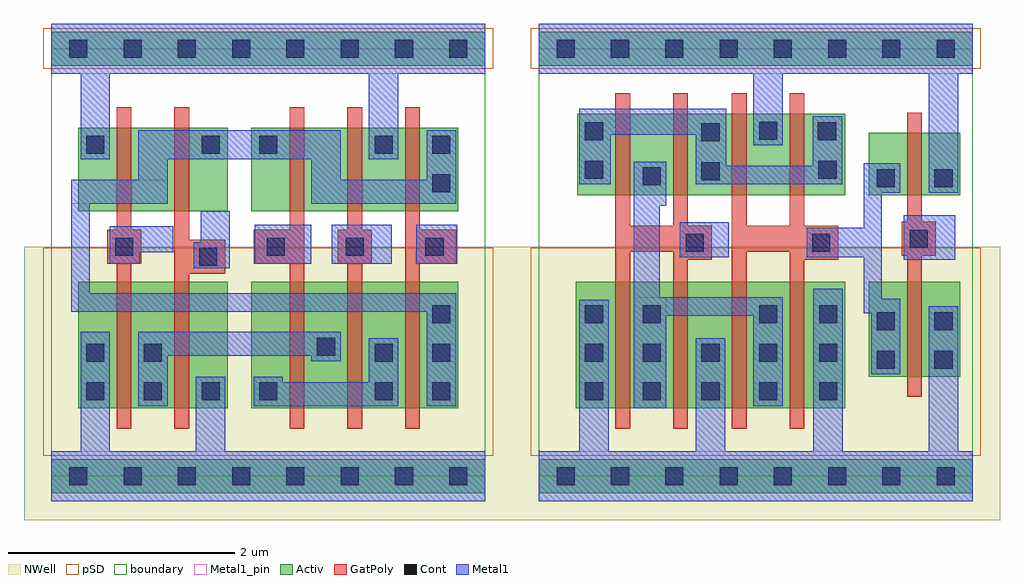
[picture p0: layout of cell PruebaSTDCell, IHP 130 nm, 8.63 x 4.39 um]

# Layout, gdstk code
from math import pi, radians
import gdstk
lib = gdstk.Library(unit=1e-6, precision=1e-09)
def R(c, l, rs):  # rectangles x0, y0, x1, y1
    for r in rs: c.add(gdstk.rectangle(r[:2], r[2:], *l))
def A(c, l, x, y, w, h, nx, ny, dx, dy):  # array of equal rectangles
    R(c, l, [(x+i*dx, y+j*dy, x+i*dx+w, y+j*dy+h) for i in range(nx) for j in range(ny)])
def P(c, l, *ps):  # polygons
    for p in ps: c.add(gdstk.Polygon(p, *l))
Activ = (1, 0)
GatPoly = (5, 0)
Cont = (6, 0)
Metal1 = (8, 0)
Metal1_pin = (8, 2)
pSD = (14, 0)
NWell = (31, 0)
boundary = (189, 4)

sg13g2_a221oi_1 = lib.new_cell('sg13g2_a221oi_1')
R(sg13g2_a221oi_1, Activ, [(0,-0.15,3.84,0.15), (0.24,0.7,2.07,1.44), (2.28,0.7,3.6,1.44), (0.24,2.06,2.07,3.18), (2.28,2.06,3.6,3.18), (0,3.63,3.84,3.93)])
P(sg13g2_a221oi_1, GatPoly, [(1.6,0.52),(1.6,3.36),(1.73,3.36),(1.73,1.9),(2.05,1.9),(2.05,1.6),(1.73,1.6),(1.73,0.52)],
  [(0.58,0.52),(0.58,1.6),(0.26,1.6),(0.26,1.9),(0.58,1.9),(0.58,3.36),(0.71,3.36),(0.71,0.52)],
  [(3.13,0.52),(3.13,1.6),(3.045,1.6),(3.045,1.9),(3.13,1.9),(3.13,3.36),(3.26,3.36),(3.26,1.9),(3.345,1.9),(3.345,1.6),(3.26,1.6),(3.26,0.52)],
  [(1.09,0.52),(1.09,1.6),(1.005,1.6),(1.005,1.9),(1.09,1.9),(1.09,3.36),(1.22,3.36),(1.22,1.9),(1.305,1.9),(1.305,1.6),(1.22,1.6),(1.22,0.52)],
  [(2.62,0.52),(2.62,1.69),(2.3,1.69),(2.3,1.99),(2.62,1.99),(2.62,3.36),(2.75,3.36),(2.75,0.52)])
A(sg13g2_a221oi_1, Cont, 0.16, -0.08, 0.16, 0.16, 8, 2, 0.48, 3.78)
A(sg13g2_a221oi_1, Cont, 0.31, 2.27, 0.16, 0.16, 1, 3, 0, 0.34)
A(sg13g2_a221oi_1, Cont, 1.84, 2.95, 0.16, 0.16, 4, 1, 0.51, 0)
R(sg13g2_a221oi_1, Cont, [(0.31,0.77,0.47,0.93), (0.82,0.77,0.98,0.93), (1.84,0.77,2,0.93), (2.35,0.77,2.51,0.93), (3.37,0.77,3.53,0.93), (0.31,1.11,0.47,1.27), (0.37,1.67,0.53,1.83), (1.075,1.67,1.235,1.83), (1.775,1.67,1.935,1.83), (3.115,1.67,3.275,1.83), (2.37,1.76,2.53,1.92), (1.33,2.555,1.49,2.715), (0.82,2.61,0.98,2.77), (2.86,2.61,3.02,2.77), (3.37,2.61,3.53,2.77), (0.82,2.95,0.98,3.11)])
R(sg13g2_a221oi_1, Metal1, [(0.25,1.555,0.61,1.9), (0.83,1.555,1.36,1.9), (1.54,1.555,2.04,1.9)])
P(sg13g2_a221oi_1, Metal1, [(3.32,2.505),(3.32,3.56),(2.56,3.56),(2.56,2.9),(2.3,2.9),(2.3,3.56),(0,3.56),(0,4),(3.84,4),(3.84,3.56),(3.58,3.56),(3.58,2.505)],
  [(0.77,2.56),(0.77,3.16),(2.05,3.16),(2.05,2.9),(1.79,2.9),(1.79,2.95),(1.03,2.95),(1.03,2.56)],
  [(0.26,0.72),(0.26,1.37),(1.54,1.37),(1.54,0.98),(2.81,0.98),(2.81,1.37),(3.5,1.37),(3.5,2.165),(0.26,2.165),(0.26,3.16),(0.52,3.16),(0.52,2.325),(3.66,2.325),(3.66,1.16),(3.07,1.16),(3.07,0.72),(1.28,0.72),(1.28,1.16),(0.52,1.16),(0.52,0.72)],
  [(2.76,1.57),(2.76,1.8),(3.055,1.8),(3.055,1.9),(3.32,1.9),(3.32,1.57)],
  [(1.28,2.505),(1.28,2.765),(1.54,2.765),(1.54,2.715),(2.81,2.715),(2.81,3.16),(3.07,3.16),(3.07,2.505)],
  [(2.26,1.44),(2.26,1.94),(2.58,1.94),(2.58,1.71),(2.515,1.71),(2.515,1.44)],
  [(0,-0.22),(0,0.22),(0.77,0.22),(0.77,0.98),(1.03,0.98),(1.03,0.22),(3.32,0.22),(3.32,0.98),(3.58,0.98),(3.58,0.22),(3.84,0.22),(3.84,-0.22)])
R(sg13g2_a221oi_1, Metal1_pin, [(0,-0.22,3.84,0.22), (2.81,1.16,3.66,1.37), (2.26,1.44,2.515,1.94), (0.25,1.555,0.61,1.9), (0.83,1.555,1.36,1.9), (1.54,1.555,2.04,1.9), (2.76,1.57,3.32,1.8), (0,3.56,3.84,4)])
R(sg13g2_a221oi_1, pSD, [(-0.07,-0.18,3.91,0.18), (-0.07,1.76,3.91,3.6)])
R(sg13g2_a221oi_1, NWell, [(-0.24,1.75,4.08,4.17)])
R(sg13g2_a221oi_1, boundary, [(0,0,3.84,3.78)])
sg13g2_a221oi_1.add(gdstk.Label('C1', (0.445,1.735), layer=8, texttype=25))
sg13g2_a221oi_1.add(gdstk.Label('Y', (3.36,1.26), layer=8, texttype=25))
sg13g2_a221oi_1.add(gdstk.Label('B2', (1.12,1.735), layer=8, texttype=25))
sg13g2_a221oi_1.add(gdstk.Label('B1', (1.865,1.68), layer=8, texttype=25))
sg13g2_a221oi_1.add(gdstk.Label('A2', (3.155,1.74), layer=8, texttype=25))
sg13g2_a221oi_1.add(gdstk.Label('VDD', (1.93,3.78), layer=8, texttype=25))
sg13g2_a221oi_1.add(gdstk.Label('A1', (2.35,1.54), layer=8, texttype=25))
sg13g2_a221oi_1.add(gdstk.Label('VSS', (1.84,-0.02), layer=8, texttype=25))

sg13g2_nand2b_2 = lib.new_cell('sg13g2_nand2b_2')
R(sg13g2_nand2b_2, Activ, [(0,-0.15,3.84,0.15), (1.13,0.575,3.5,1.295), (0.11,0.745,0.92,1.295), (0.11,2.06,0.92,2.9), (1.13,2.06,3.51,3.18), (0,3.63,3.84,3.93)])
P(sg13g2_nand2b_2, GatPoly, [(1.49,0.395),(1.49,1.565),(1.19,1.565),(1.19,1.865),(1.49,1.865),(1.49,3.36),(1.62,3.36),(1.62,1.795),(2,1.795),(2,3.36),(2.13,3.36),(2.13,0.395),(2,0.395),(2,1.565),(1.62,1.565),(1.62,0.395)],
  [(0.45,0.565),(0.45,1.53),(0.33,1.53),(0.33,1.83),(0.45,1.83),(0.45,3.08),(0.58,3.08),(0.58,1.83),(0.63,1.83),(0.63,1.53),(0.58,1.53),(0.58,0.565)],
  [(2.52,0.395),(2.52,1.565),(2.31,1.565),(2.31,1.865),(2.52,1.865),(2.52,3.36),(2.65,3.36),(2.65,1.795),(3.03,1.795),(3.03,3.36),(3.16,3.36),(3.16,0.395),(3.03,0.395),(3.03,1.565),(2.65,1.565),(2.65,0.395)])
A(sg13g2_nand2b_2, Cont, 0.16, -0.08, 0.16, 0.16, 8, 2, 0.48, 3.78)
A(sg13g2_nand2b_2, Cont, 1.2, 2.27, 0.16, 0.16, 1, 3, 0, 0.34)
A(sg13g2_nand2b_2, Cont, 1.73, 2.27, 0.16, 0.16, 1, 3, 0, 0.34)
A(sg13g2_nand2b_2, Cont, 2.76, 2.27, 0.16, 0.16, 1, 3, 0, 0.34)
A(sg13g2_nand2b_2, Cont, 3.27, 2.27, 0.16, 0.16, 1, 3, 0, 0.34)
R(sg13g2_nand2b_2, Cont, [(1.73,0.645,1.89,0.805), (1.21,0.65,1.37,0.81), (3.27,0.65,3.43,0.81), (2.24,0.66,2.4,0.82), (1.205,0.99,1.365,1.15), (3.27,0.99,3.43,1.15), (2.24,1.005,2.4,1.165), (2.76,1.05,2.92,1.21), (0.18,1.065,0.34,1.225), (0.69,1.065,0.85,1.225), (0.4,1.6,0.56,1.76), (1.26,1.635,1.42,1.795), (2.38,1.635,2.54,1.795), (0.18,2.33,0.34,2.49), (0.69,2.33,0.85,2.49), (2.24,2.61,2.4,2.77), (0.18,2.67,0.34,2.83), (0.69,2.67,0.85,2.83), (2.24,2.95,2.4,3.11)])
R(sg13g2_nand2b_2, Metal1, [(0.155,1.475,0.61,1.865), (2.16,1.535,2.59,1.845)])
P(sg13g2_nand2b_2, Metal1, [(2.18,0.53),(2.18,1.035),(1.415,1.035),(1.415,0.6),(1.155,0.6),(1.155,1.2),(2.45,1.2),(2.45,0.76),(3.2,0.76),(3.2,1.2),(3.48,1.2),(3.48,0.53)],
  [(2.71,1),(2.71,1.39),(2.77,1.39),(2.77,2.2),(1.68,2.2),(1.68,3.16),(1.94,3.16),(1.94,2.36),(2.71,2.36),(2.71,3.18),(3,3.18),(3,1)],
  [(0,-0.22),(0,0.22),(0.13,0.22),(0.13,1.275),(0.39,1.275),(0.39,0.22),(1.68,0.22),(1.68,0.855),(1.94,0.855),(1.94,0.22),(3.84,0.22),(3.84,-0.22)],
  [(0.64,1.015),(0.64,1.275),(0.805,1.275),(0.805,2.21),(0.64,2.21),(0.64,2.88),(0.9,2.88),(0.9,2.34),(0.965,2.34),(0.965,1.845),(1.47,1.845),(1.47,1.585),(0.965,1.585),(0.965,1.015)],
  [(1.15,2.125),(1.15,3.56),(0.39,3.56),(0.39,2.28),(0.13,2.28),(0.13,3.56),(0,3.56),(0,4),(3.84,4),(3.84,3.56),(3.48,3.56),(3.48,2.22),(3.22,2.22),(3.22,3.56),(2.45,3.56),(2.45,2.56),(2.19,2.56),(2.19,3.56),(1.41,3.56),(1.41,2.125)])
R(sg13g2_nand2b_2, Metal1_pin, [(0,-0.22,3.84,0.22), (0.155,1.475,0.61,1.865), (2.16,1.535,2.59,1.845), (2.71,2.2,3,3.18), (0,3.56,3.84,4)])
R(sg13g2_nand2b_2, pSD, [(-0.07,-0.18,3.91,0.18), (-0.07,1.76,3.91,3.6)])
R(sg13g2_nand2b_2, NWell, [(-0.24,1.75,4.08,4.17)])
R(sg13g2_nand2b_2, boundary, [(0,0,3.84,3.78)])
sg13g2_nand2b_2.add(gdstk.Label('A_N', (0.41,1.69), layer=8, texttype=25))
sg13g2_nand2b_2.add(gdstk.Label('Y', (2.86,2.5), layer=8, texttype=25))
sg13g2_nand2b_2.add(gdstk.Label('VDD', (0.97,3.78), layer=8, texttype=25))
sg13g2_nand2b_2.add(gdstk.Label('VSS', (0.51,0), layer=8, texttype=25))
sg13g2_nand2b_2.add(gdstk.Label('B', (2.23,1.765), layer=8, texttype=25))

pruebastdcell = lib.new_cell('PruebaSTDCell')
pruebastdcell.add(gdstk.Reference(sg13g2_a221oi_1, (3,7.595), rotation=pi))
pruebastdcell.add(gdstk.Reference(sg13g2_nand2b_2, (7.31,7.595), rotation=pi))

lib.write_gds('PruebaSTDCell.gds')
